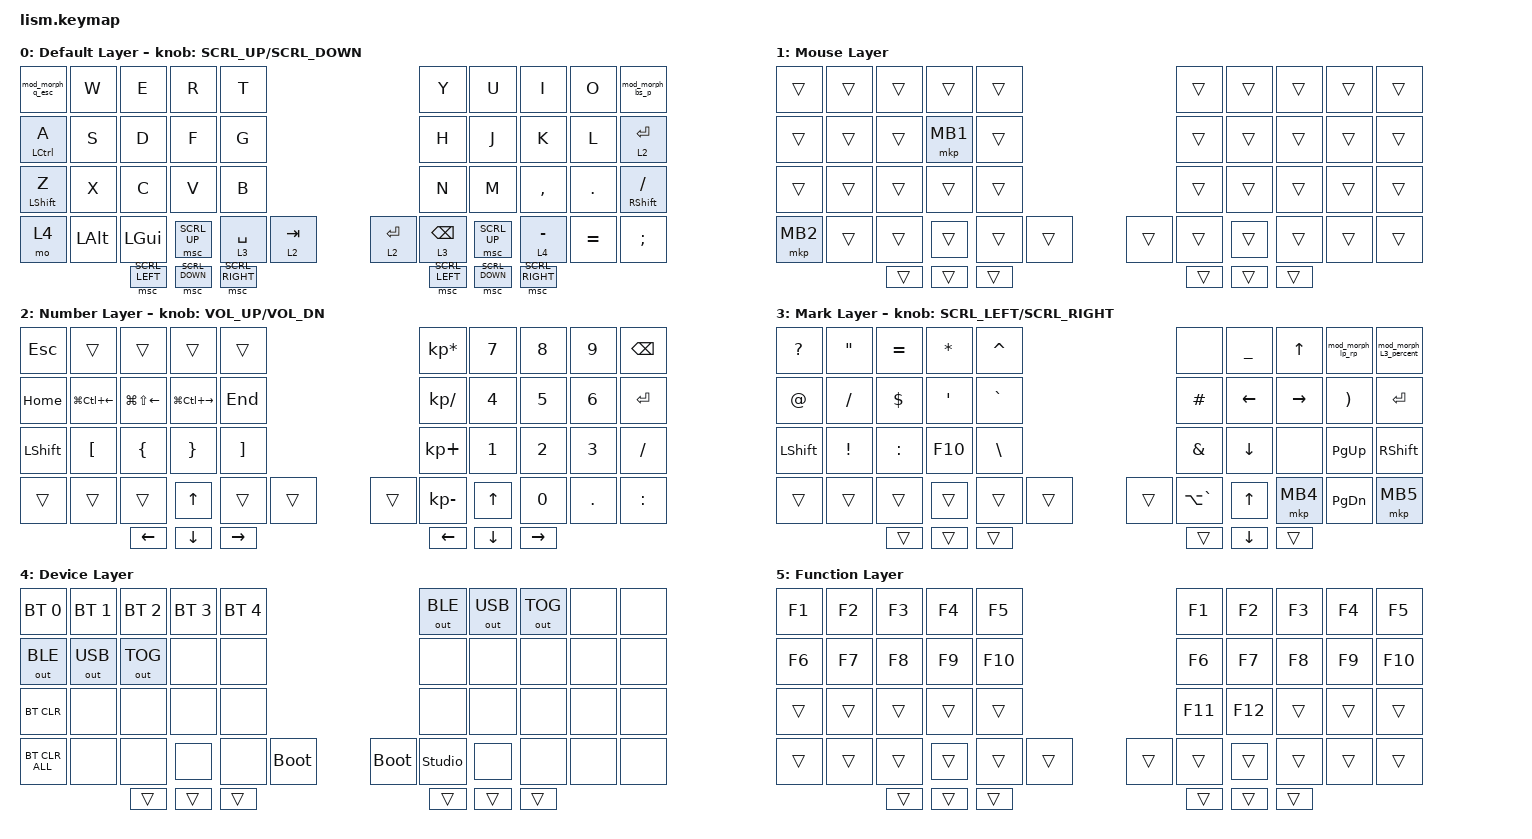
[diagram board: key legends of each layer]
#define ZMK_POINTING_DEFAULT_SCRL_VAL 200

#include <dt-bindings/zmk/mouse.h>
#include <behaviors.dtsi>
#include <dt-bindings/zmk/bt.h>
#include <dt-bindings/zmk/keys.h>
#include <dt-bindings/zmk/outputs.h>
#include <dt-bindings/zmk/pointing.h>

&mt {
    tapping-term-ms = <300>;
    flavor = "balanced";
};

&lt { quick-tap-ms = <300>; };

/ {
    behaviors {
        encoder_msc: sensor_rotate_msc {
            compatible = "zmk,behavior-sensor-rotate-var";
            #sensor-binding-cells = <2>;
            bindings = <&msc>, <&msc>;

            tap-ms = <20>;
        };

        encoder_kp: sensor_rotate_kp {
            compatible = "zmk,behavior-sensor-rotate-var";
            #sensor-binding-cells = <2>;
            bindings = <&kp>, <&kp>;
        };

        td_tab_q: td_tab_q {
            compatible = "zmk,behavior-tap-dance";
            label = "td_tab_q";
            #binding-cells = <0>;
            bindings = <&kp TAB>, <&kp Q>;

            tapping-term-ms = <200>;
        };

        td_semicolon_colon: td_semicolon_colon {
            compatible = "zmk,behavior-tap-dance";
            label = "td_colon_behavior";
            #binding-cells = <0>;
            bindings = <&kp SEMICOLON>, <&kp COLON>;

            tapping-term-ms = <250>;
        };

        mod_morph_lp_rp: mod_morph_lp_rp_ {
            compatible = "zmk,behavior-mod-morph";
            label = "mod_morph_lp_rp";
            bindings = <&kp LEFT_PARENTHESIS>, <&kp RPAR>;

            #binding-cells = <0>;
            mods = <(MOD_LSFT|MOD_RSFT)>;
        };

        mod_morph_q_esc: mod_morph_q_esc_ {
            compatible = "zmk,behavior-mod-morph";
            label = "mod_morph_q_esc";
            bindings = <&kp ESCAPE>, <&kp Q>;

            #binding-cells = <0>;
            mods = <(MOD_RSFT)>;
        };

        mod_morph_bs_p: mod_morph_bs_p_ {
            compatible = "zmk,behavior-mod-morph";
            label = "mod_morph_bs_p";
            bindings = <&kp BACKSPACE>, <&kp P>;

            #binding-cells = <0>;
            mods = <(MOD_LSFT)>;
        };

        mod_morph_bracket: mod_morph_bracket_ {
            compatible = "zmk,behavior-mod-morph";
            label = "MOD_MORPH_BRACKET";
            bindings = <&kp LEFT_BRACKET>, <&kp RIGHT_BRACKET>;

            #binding-cells = <0>;
            mods = <(MOD_RSFT|MOD_LSFT)>;
        };

        mod_morph_brace: mod_morph_brace_ {
            compatible = "zmk,behavior-mod-morph";
            label = "MOD_MORPH_BRACE";
            bindings = <&kp LEFT_BRACE>, <&kp RIGHT_BRACE>;

            #binding-cells = <0>;
            mods = <(MOD_RSFT|MOD_LSFT)>;
        };

        mod_morph_del_percent: mod_morph_del_percent_ {
            compatible = "zmk,behavior-mod-morph";
            label = "MOD_MORPH_DEL_PERCENT";
            bindings = <&kp DELETE>, <&kp PERCENT>;

            #binding-cells = <0>;
            mods = <(MOD_LSFT|MOD_RSFT)>;
        };

        hold_tap_kp_kp: hold_tap_kp_kp_ {
            compatible = "zmk,behavior-hold-tap";
            label = "HOLD_TAP";
            bindings = <&kp>, <&kp>;

            #binding-cells = <2>;
            flavor = "balanced";
            tapping-term-ms = <200>;
            require-prior-idle-ms = <90>;
            quick-tap-ms = <90>;
        };

        hold_tap_lt_kp: hold_tap_lt_kp_ {
            compatible = "zmk,behavior-hold-tap";
            label = "HOLD_TAP_LT_KP";
            bindings = <&lt>, <&kp>;

            #binding-cells = <2>;
            flavor = "balanced";
            tapping-term-ms = <200>;
            require-prior-idle-ms = <100>;
            quick-tap-ms = <100>;
        };

        toggle_mode_off: toggle_mode_off_ {
            compatible = "zmk,behavior-toggle-layer";
            label = "TOGGLE_MODE_OFF";
            #binding-cells = <1>;
            toggle-mode = "off";
        };

        hold_tap_lt5: hold_tap_lt5_ {
            compatible = "zmk,behavior-hold-tap";
            label = "HOLD_TAP_LT5";
            bindings = <&lt>, <&kp>;

            #binding-cells = <2>;
            flavor = "balanced";
            tapping-term-ms = <200>;
            require-prior-idle-ms = <100>;
            quick-tap-ms = <100>;
        };

        mod_morph_L3_percent: mod_morph_L3_percent_ {
            compatible = "zmk,behavior-mod-morph";
            label = "MOD_MORPH_L3_PERCENT";
            bindings = <&kp DELETE>, <&kp PERCENT>;

            #binding-cells = <0>;
            mods = <(MOD_LSFT)>;
        };
    };

    combos {
        compatible = "zmk,combos";

        layer2 {
            bindings = <&mo 2>;
            key-positions = <34 23>;
            layers = <0>;
        };

        Window {
            bindings = <&kp RIGHT_WIN>;
            key-positions = <17 16>;
            layers = <0>;
        };

        Control {
            bindings = <&kp RCTRL>;
            key-positions = <18 17>;
            layers = <0>;
        };

        p {
            bindings = <&kp P>;
            key-positions = <8 9>;
            timeout-ms = <90>;
        };

        q {
            bindings = <&kp Q>;
            key-positions = <0 1>;
            timeout-ms = <90>;
        };

        layer5 {
            bindings = <&mo 5>;
            key-positions = <34 13>;
            layers = <0>;
        };

        Right_Click2 {
            bindings = <&mkp MB2>;
            key-positions = <30 31>;
        };

        us_kana {
            bindings = <&kp LA(GRAVE)>;
            key-positions = <11 18>;
            layers = <0>;
        };

        layer5_2 {
            bindings = <&mo 5>;
            key-positions = <34 12>;
            layers = <0>;
        };

        togglemode_off {
            bindings = <&toggle_mode_off 1>;
            key-positions = <12 17>;
            layers = <1 0>;
        };
    };

    keymap {
        compatible = "zmk,keymap";

        default_layer {
            display-name = "Default Layer";
            bindings = <
&mod_morph_q_esc              &kp W         &kp E           &kp R           &kp T                                      &kp Y            &kp U           &kp I            &kp O      &mod_morph_bs_p
&hold_tap_kp_kp LCTRL A       &kp S         &kp D           &kp F           &kp G                                      &kp H            &kp J           &kp K            &kp L      &lt 2 ENTER
&hold_tap_kp_kp LEFT_SHIFT Z  &kp X         &kp C           &kp V           &kp B                                      &kp N            &kp M           &kp COMMA        &kp DOT    &hold_tap_kp_kp RIGHT_SHIFT SLASH
&mo 4                         &kp LEFT_ALT  &kp LEFT_GUI    &msc SCRL_UP    &lt 3 SPACE      &lt 2 TAB    &lt 2 ENTER  &lt 3 BACKSPACE  &msc SCRL_UP    &lt 4 MINUS      &kp EQUAL  &kp SEMI
                                            &msc SCRL_LEFT  &msc SCRL_DOWN  &msc SCRL_RIGHT                            &msc SCRL_LEFT   &msc SCRL_DOWN  &msc SCRL_RIGHT
            >;

            sensor-bindings = <&encoder_msc SCRL_UP SCRL_DOWN>;
        };

        layer_1 {
            display-name = "Mouse Layer";
            bindings = <
&trans    &trans  &trans  &trans    &trans                    &trans  &trans  &trans  &trans  &trans
&trans    &trans  &trans  &mkp MB1  &trans                    &trans  &trans  &trans  &trans  &trans
&trans    &trans  &trans  &trans    &trans                    &trans  &trans  &trans  &trans  &trans
&mkp MB2  &trans  &trans  &trans    &trans  &trans    &trans  &trans  &trans  &trans  &trans  &trans
                  &trans  &trans    &trans                    &trans  &trans  &trans
            >;
        };

        layer_2 {
            display-name = "Number Layer";
            bindings = <
&kp ESCAPE      &trans                  &trans                  &trans                   &trans                               &kp KP_MULTIPLY  &kp NUMBER_7  &kp NUMBER_8  &kp NUMBER_9  &kp BACKSPACE
&kp HOME        &kp LG(LC(LEFT_ARROW))  &kp LG(LS(LEFT_ARROW))  &kp LG(LC(RIGHT_ARROW))  &kp END                              &kp KP_SLASH     &kp NUMBER_4  &kp NUMBER_5  &kp NUMBER_6  &kp ENTER
&kp LEFT_SHIFT  &kp LEFT_BRACKET        &kp LEFT_BRACE          &kp RIGHT_BRACE          &kp RIGHT_BRACKET                    &kp KP_PLUS      &kp NUMBER_1  &kp NUMBER_2  &kp NUMBER_3  &kp SLASH
&trans          &trans                  &trans                  &kp UP                   &trans             &trans    &trans  &kp KP_MINUS     &kp UP        &kp NUMBER_0  &kp PERIOD    &kp COLON
                                        &kp LEFT                &kp DOWN                 &kp RIGHT                            &kp LEFT         &kp DOWN      &kp RIGHT
            >;

            sensor-bindings = <&encoder_kp C_VOL_UP C_VOL_DN>;
        };

        layer_3 {
            display-name = "Mark Layer";
            bindings = <
&kp QUESTION    &kp DOUBLE_QUOTES  &kp EQUAL   &kp ASTRK  &kp CARET                        &none          &kp UNDER       &kp UP_ARROW     &mod_morph_lp_rp       &mod_morph_L3_percent
&kp AT_SIGN     &kp SLASH          &kp DOLLAR  &kp SQT    &kp GRAVE                        &kp HASH       &kp LEFT        &kp RIGHT_ARROW  &kp RIGHT_PARENTHESIS  &kp ENTER
&kp LEFT_SHIFT  &kp EXCL           &kp COLON   &kp F10    &kp BACKSLASH                    &kp AMPERSAND  &kp DOWN_ARROW  &none            &kp PAGE_UP            &kp RIGHT_SHIFT
&trans          &trans             &trans      &trans     &trans         &trans    &trans  &kp LA(GRAVE)  &kp UP_ARROW    &mkp MB4         &kp PAGE_DOWN          &mkp MB5
                                   &trans      &trans     &trans                           &trans         &kp DOWN_ARROW  &trans
            >;

            sensor-bindings = <&encoder_msc SCRL_LEFT SCRL_RIGHT>;
        };

        layer_4 {
            display-name = "Device Layer";
            bindings = <
&bt BT_SEL 0    &bt BT_SEL 1  &bt BT_SEL 2  &bt BT_SEL 3  &bt BT_SEL 4                              &out OUT_BLE    &out OUT_USB  &out OUT_TOG  &none  &none
&out OUT_BLE    &out OUT_USB  &out OUT_TOG  &none         &none                                     &none           &none         &none         &none  &none
&bt BT_CLR      &none         &none         &none         &none                                     &none           &none         &none         &none  &none
&bt BT_CLR_ALL  &none         &none         &none         &none         &bootloader    &bootloader  &studio_unlock  &none         &none         &none  &none
                              &trans        &trans        &trans                                    &trans          &trans        &trans
            >;
        };

        layer_5 {
            //           status = "reserved";

            display-name = "Function Layer";
            bindings = <
&kp F1  &kp F2  &kp F3  &kp F4  &kp F5                     &kp F1   &kp F2   &kp F3  &kp F4  &kp F5
&kp F6  &kp F7  &kp F8  &kp F9  &kp F10                    &kp F6   &kp F7   &kp F8  &kp F9  &kp F10
&trans  &trans  &trans  &trans  &trans                     &kp F11  &kp F12  &trans  &trans  &trans
&trans  &trans  &trans  &trans  &trans   &trans    &trans  &trans   &trans   &trans  &trans  &trans
                &trans  &trans  &trans                     &trans   &trans   &trans
            >;
        };

        layer_6 {
            status = "reserved";
            display-name = "Brank Layer";
            bindings = <
&trans  &trans  &trans  &trans  &trans                    &trans  &trans  &trans  &trans  &trans
&trans  &trans  &trans  &trans  &trans                    &trans  &trans  &trans  &trans  &trans
&trans  &trans  &trans  &trans  &trans                    &trans  &trans  &trans  &trans  &trans
&trans  &trans  &trans  &trans  &trans  &trans    &trans  &trans  &trans  &trans  &trans  &trans
                &trans  &trans  &trans                    &trans  &trans  &trans
            >;
        };

        layer_7 {
            status = "reserved";
            display-name = "Brank Layer";
            bindings = <
&trans  &trans  &trans  &trans  &trans                    &trans  &trans  &trans  &trans  &trans
&trans  &trans  &trans  &trans  &trans                    &trans  &trans  &trans  &trans  &trans
&trans  &trans  &trans  &trans  &trans                    &trans  &trans  &trans  &trans  &trans
&trans  &trans  &trans  &trans  &trans  &trans    &trans  &trans  &trans  &trans  &trans  &trans
                &trans  &trans  &trans                    &trans  &trans  &trans
            >;
        };
    };
};
